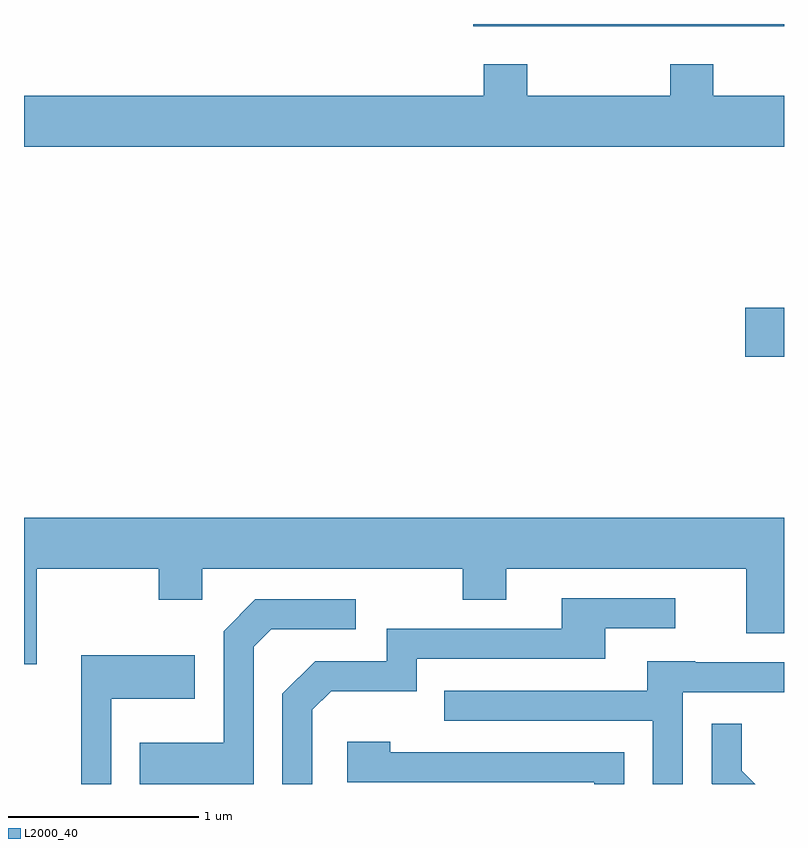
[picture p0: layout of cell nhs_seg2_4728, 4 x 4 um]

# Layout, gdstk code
import gdstk
lib = gdstk.Library(unit=1e-6, precision=1e-09)
def R(c, l, rs):  # rectangles x0, y0, x1, y1
    for r in rs: c.add(gdstk.rectangle(r[:2], r[2:], *l))
def P(c, l, *ps):  # polygons
    for p in ps: c.add(gdstk.Polygon(p, *l))
L2000_40 = (2000, 40)

nhs_seg2_4728 = lib.new_cell('nhs_seg2_4728')
R(nhs_seg2_4728, L2000_40, [(327.406,1096.051,327.611,1096.309), (325.976,1097.791,327.611,1097.802)])
P(nhs_seg2_4728, L2000_40, [(327.611,1097.424),(327.239,1097.424),(327.239,1097.589),(327.011,1097.589),(327.011,1097.424),(326.259,1097.424),(326.259,1097.589),(326.031,1097.589),(326.031,1097.424),(323.611,1097.424),(323.611,1097.156),(327.611,1097.156)],
  [(323.679,1094.936),(324.321,1094.936),(324.321,1094.771),(324.549,1094.771),(324.549,1094.936),(325.921,1094.936),(325.921,1094.771),(326.149,1094.771),(326.149,1094.936),(327.411,1094.936),(327.411,1094.596),(327.611,1094.596),(327.611,1095.204),(323.611,1095.204),(323.611,1094.431),(323.679,1094.431)],
  [(325.129,1094.194),(325.227,1094.291),(325.679,1094.291),(325.679,1094.461),(326.669,1094.461),(326.669,1094.621),(327.038,1094.621),(327.038,1094.779),(326.441,1094.779),(326.441,1094.619),(325.521,1094.619),(325.521,1094.449),(325.144,1094.449),(324.971,1094.277),(324.971,1093.802),(325.129,1093.802)],
  [(324.819,1094.524),(324.912,1094.616),(325.358,1094.616),(325.358,1094.774),(324.829,1094.774),(324.661,1094.607),(324.661,1094.019),(324.221,1094.019),(324.221,1093.802),(324.819,1093.802)],
  [(324.069,1094.251),(324.509,1094.251),(324.509,1094.479),(323.911,1094.479),(323.911,1093.802),(324.069,1093.802)],
  [(327.079,1094.286),(327.611,1094.286),(327.611,1094.444),(327.145,1094.444),(327.145,1094.449),(326.891,1094.449),(326.891,1094.294),(325.823,1094.294),(325.823,1094.136),(326.921,1094.136),(326.921,1093.802),(327.079,1093.802)],
  [(327.389,1093.872),(327.389,1094.118),(327.231,1094.118),(327.231,1093.804),(327.233,1093.802),(327.459,1093.802)],
  [(326.769,1093.969),(325.539,1093.969),(325.539,1094.024),(325.311,1094.024),(325.311,1093.811),(326.611,1093.811),(326.611,1093.802),(326.769,1093.802)])

lib.write_gds('nhs_seg2_4728.gds')
